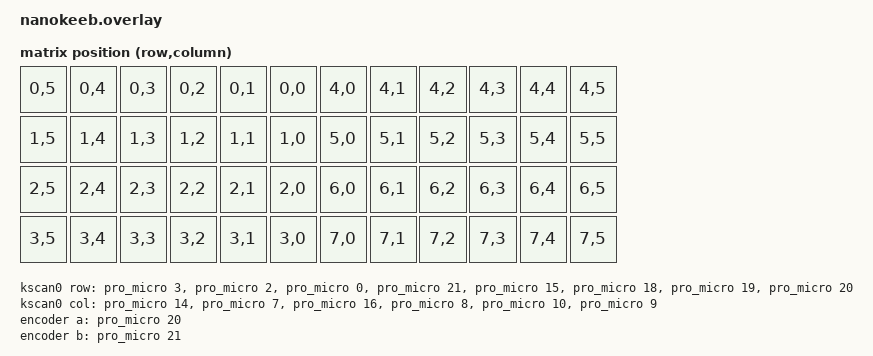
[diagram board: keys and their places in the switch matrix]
/*
 * Copyright (c) 2025 The ZMK Contributors
 *
 * SPDX-License-Identifier: MIT
 */

#include <dt-bindings/zmk/matrix_transform.h>

#include <layouts/common/ortho_4x12/all1u.dtsi>

/ {
    chosen {
        zmk,kscan = &kscan0;
        zmk,physical-layout = &layout_ortho_4x12_all1u;
    };

    matrix_transform_40_all1u: keymap_transform_0 {
        compatible = "zmk,matrix-transform";
        columns = <6>;
        rows = <8>;
        map = <
            RC(0,5) RC(0,4) RC(0,3) RC(0,2) RC(0,1) RC(0,0) RC(4,0) RC(4,1) RC(4,2) RC(4,3) RC(4,4) RC(4,5)
            RC(1,5) RC(1,4) RC(1,3) RC(1,2) RC(1,1) RC(1,0) RC(5,0) RC(5,1) RC(5,2) RC(5,3) RC(5,4) RC(5,5)
            RC(2,5) RC(2,4) RC(2,3) RC(2,2) RC(2,1) RC(2,0) RC(6,0) RC(6,1) RC(6,2) RC(6,3) RC(6,4) RC(6,5)
            RC(3,5) RC(3,4) RC(3,3) RC(3,2) RC(3,1) RC(3,0) RC(7,0) RC(7,1) RC(7,2) RC(7,3) RC(7,4) RC(7,5)
            >;
    };

    kscan0: kscan_0 {
        compatible = "zmk,kscan-gpio-matrix";
        wakeup-source;

        diode-direction = "col2row";

        // cols:
        // machine.P1_06, // col5 // 9
		// machine.P0_09, // col4 // 10
		// machine.P1_04, // col3 // 8
		// machine.P0_10, // col2 // 16
		// machine.P0_11, // col1 // 7
		// machine.P1_11, // col0 // 14

        col-gpios
            = <&pro_micro 14 GPIO_ACTIVE_HIGH>
            , <&pro_micro 7 GPIO_ACTIVE_HIGH>
            , <&pro_micro 16 GPIO_ACTIVE_HIGH>
            , <&pro_micro 8 GPIO_ACTIVE_HIGH>
            , <&pro_micro 10 GPIO_ACTIVE_HIGH>
            , <&pro_micro 9 GPIO_ACTIVE_HIGH>   
            ;

        // rows 
        // // left
		// machine.P0_20, // row0 // 3
		// machine.P0_17, // row1 // 2
		// machine.P0_08, // row2 // 0
		// machine.P0_31, // row3 // 21
		// // right
		// machine.P1_13, // row4 // 15
		// machine.P1_15, // row5 // 18
		// machine.P0_02, // row6 // 19
		// machine.P0_29, // row7 // 20


        row-gpios
            = <&pro_micro 3 (GPIO_ACTIVE_HIGH | GPIO_PULL_DOWN)>
            , <&pro_micro 2 (GPIO_ACTIVE_HIGH | GPIO_PULL_DOWN)>
            , <&pro_micro 0 (GPIO_ACTIVE_HIGH | GPIO_PULL_DOWN)>
            , <&pro_micro 21 (GPIO_ACTIVE_HIGH | GPIO_PULL_DOWN)>
            , <&pro_micro 15 (GPIO_ACTIVE_HIGH | GPIO_PULL_DOWN)>
            , <&pro_micro 18 (GPIO_ACTIVE_HIGH | GPIO_PULL_DOWN)>
            , <&pro_micro 19 (GPIO_ACTIVE_HIGH | GPIO_PULL_DOWN)>
            , <&pro_micro 20 (GPIO_ACTIVE_HIGH | GPIO_PULL_DOWN)>
            ;
    };

    encoder: encoder {
        compatible = "alps,ec11";
        a-gpios = <&pro_micro 20 (GPIO_ACTIVE_HIGH | GPIO_PULL_UP)>;
        b-gpios = <&pro_micro 21 (GPIO_ACTIVE_HIGH | GPIO_PULL_UP)>;
        steps = <80>;
        status = "okay";
    };

    sensors: sensors {
        compatible = "zmk,keymap-sensors";
        sensors = <&encoder>;
        triggers-per-rotation = <20>;
    };
};

&layout_ortho_4x12_all1u {
    transform = <&matrix_transform_40_all1u>;
};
